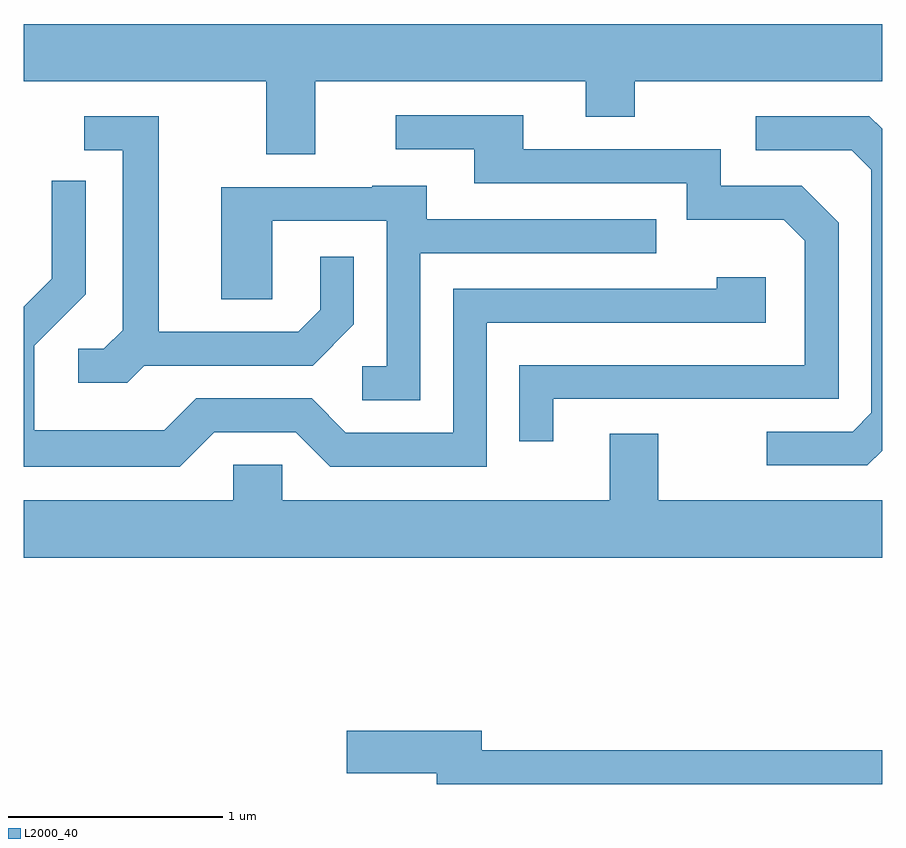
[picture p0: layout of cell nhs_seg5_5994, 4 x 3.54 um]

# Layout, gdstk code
import gdstk
lib = gdstk.Library(unit=1e-6, precision=1e-09)
def P(c, l, *ps):  # polygons
    for p in ps: c.add(gdstk.Polygon(p, *l))
L2000_40 = (2000, 40)

nhs_seg5_5994 = lib.new_cell('nhs_seg5_5994')
P(nhs_seg5_5994, L2000_40, [(364.969,1405.736),(366.231,1405.736),(366.231,1405.571),(366.459,1405.571),(366.459,1405.736),(367.611,1405.736),(367.611,1406.004),(363.611,1406.004),(363.611,1405.736),(364.741,1405.736),(364.741,1405.396),(364.969,1405.396)],
  [(366.079,1404.256),(367.409,1404.256),(367.409,1405.077),(367.237,1405.249),(366.859,1405.249),(366.859,1405.419),(365.939,1405.419),(365.939,1405.579),(365.343,1405.579),(365.343,1405.421),(365.711,1405.421),(365.711,1405.261),(366.701,1405.261),(366.701,1405.091),(367.154,1405.091),(367.251,1404.994),(367.251,1404.414),(365.921,1404.414),(365.921,1404.058),(366.079,1404.058)],
  [(364.172,1404.411),(364.957,1404.411),(365.149,1404.604),(365.149,1404.918),(364.991,1404.918),(364.991,1404.672),(364.889,1404.569),(364.239,1404.569),(364.239,1405.574),(363.893,1405.574),(363.893,1405.416),(364.071,1405.416),(364.071,1404.577),(363.984,1404.489),(363.863,1404.489),(363.863,1404.331),(364.092,1404.331)],
  [(367.611,1404.015),(367.611,1405.515),(367.552,1405.574),(367.023,1405.574),(367.023,1405.416),(367.469,1405.416),(367.561,1405.324),(367.561,1404.192),(367.474,1404.104),(367.073,1404.104),(367.073,1403.946),(367.542,1403.946)],
  [(364.497,1404.101),(364.879,1404.101),(365.039,1403.941),(365.769,1403.941),(365.769,1404.611),(367.069,1404.611),(367.069,1404.824),(366.841,1404.824),(366.841,1404.769),(365.611,1404.769),(365.611,1404.099),(365.112,1404.099),(364.952,1404.259),(364.414,1404.259),(364.264,1404.109),(363.659,1404.109),(363.659,1404.504),(363.899,1404.744),(363.899,1405.273),(363.741,1405.273),(363.741,1404.817),(363.611,1404.687),(363.611,1403.941),(364.337,1403.941)],
  [(365.459,1404.936),(366.558,1404.936),(366.558,1405.094),(365.489,1405.094),(365.489,1405.249),(365.235,1405.249),(365.235,1405.244),(364.531,1405.244),(364.531,1404.721),(364.769,1404.721),(364.769,1405.086),(365.301,1405.086),(365.301,1404.409),(365.188,1404.409),(365.188,1404.251),(365.459,1404.251)],
  [(367.611,1403.784),(366.569,1403.784),(366.569,1404.094),(366.341,1404.094),(366.341,1403.784),(364.814,1403.784),(364.814,1403.949),(364.586,1403.949),(364.586,1403.784),(363.611,1403.784),(363.611,1403.516),(367.611,1403.516)],
  [(367.611,1402.619),(365.744,1402.619),(365.744,1402.709),(365.116,1402.709),(365.116,1402.511),(365.536,1402.511),(365.536,1402.461),(367.611,1402.461)])

lib.write_gds('nhs_seg5_5994.gds')
